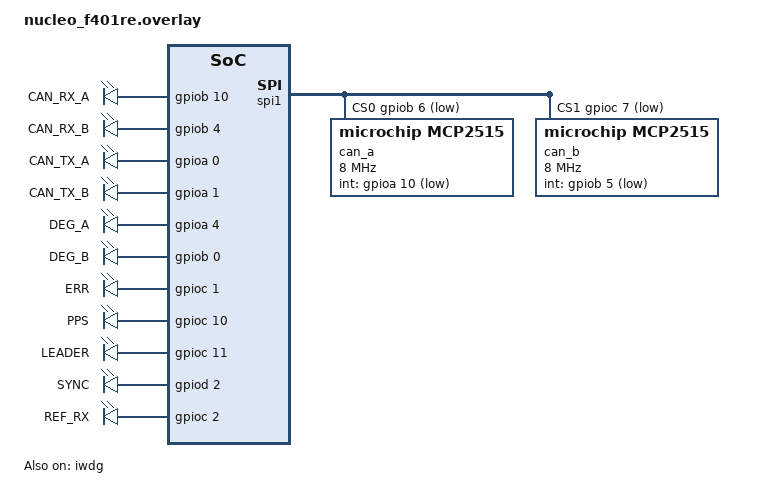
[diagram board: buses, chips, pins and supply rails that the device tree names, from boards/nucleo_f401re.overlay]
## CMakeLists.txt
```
cmake_minimum_required(VERSION 3.20.0)

# One app, two zones. Pick the zone at build time:
#   west build -p always -b nucleo_f401re car_can_app -- -DNODE_ID=2   (N2 front / steering)
#   west build -p always -b nucleo_f401re car_can_app -- -DNODE_ID=3   (N3 rear / drivetrain)
set(NODE_ID 2 CACHE STRING "Zone node number (2 = steering, 3 = drivetrain)")

if(NOT NODE_ID STREQUAL "2" AND NOT NODE_ID STREQUAL "3")
  message(FATAL_ERROR "NODE_ID must be 2 or 3 (got ${NODE_ID})")
endif()

# boards/nucleo_f401re.overlay (shared pins) is picked up automatically;
# the zone-specific pins come from node2.overlay or node3.overlay.
# This must be set before find_package(Zephyr).
set(EXTRA_DTC_OVERLAY_FILE ${CMAKE_CURRENT_SOURCE_DIR}/node${NODE_ID}.overlay)

# Part 3 measurement build: -DWCET=1 adds per-task execution-time
# measurement (src/wcet.c) and the thread runtime statistics it needs.
set(WCET 0 CACHE STRING "1 = build with execution-time measurement")
if(WCET)
  list(APPEND EXTRA_CONF_FILE ${CMAKE_CURRENT_SOURCE_DIR}/wcet.conf)
endif()

# Lab 5 Raft config: raft_config.json is the one config shared with the Pi.
# Overrides for the checkoff, e.g.  -DLEADER=random -DSEED=3
set(LEADER "" CACHE STRING "Override default_leader: cockpit | steering | drivetrain | random")
set(SEED "" CACHE STRING "Override election_seed")

find_package(Zephyr REQUIRED HINTS $ENV{ZEPHYR_BASE})
project(car_can_app)

set(RAFT_GEN_DIR ${CMAKE_CURRENT_BINARY_DIR}/raft_gen)
file(MAKE_DIRECTORY ${RAFT_GEN_DIR})
execute_process(
  COMMAND ${PYTHON_EXECUTABLE} ${CMAKE_CURRENT_SOURCE_DIR}/scripts/gen_raft_config.py
          ${CMAKE_CURRENT_SOURCE_DIR}/raft_config.json ${RAFT_GEN_DIR}/raft_config.h
          "${LEADER}" "${SEED}"
  RESULT_VARIABLE RAFT_GEN_RC)
if(NOT RAFT_GEN_RC EQUAL 0)
  message(FATAL_ERROR "raft_config.json: generation failed")
endif()
set_property(DIRECTORY APPEND PROPERTY CMAKE_CONFIGURE_DEPENDS ${CMAKE_CURRENT_SOURCE_DIR}/raft_config.json)
target_include_directories(app PRIVATE ${RAFT_GEN_DIR} src)

target_compile_definitions(app PRIVATE NODE_ID=${NODE_ID} WCET=${WCET})
if(WCET)
  target_sources(app PRIVATE src/wcet.c)
endif()

target_sources(app PRIVATE
  src/main.c
  src/canbus.c
  src/state.c
  src/monitor.c
  src/button.c
  src/blink.c
  src/relay.c
  src/node${NODE_ID}.c
  src/raft_node.c
  src/pps.c
  src/raft/raft_core.c
  src/raft/raft_proto.c
  src/raft/route.c
  src/raft/tsync.c
)
```

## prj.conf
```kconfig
# Drivers
CONFIG_GPIO=y
CONFIG_SPI=y
CONFIG_CAN=y
CONFIG_CAN_MCP2515=y
CONFIG_PWM=y
CONFIG_WATCHDOG=y

# MCP2515 interrupt thread. It is a cooperative thread (K_PRIO_COOP(2)),
# so it runs above every preemptible thread in this app; our RX callback
# runs inside it. 1024 is the driver default, stated here so it is visible.
CONFIG_CAN_MCP2515_INT_THREAD_PRIO=2
CONFIG_CAN_MCP2515_INT_THREAD_STACK_SIZE=1024

# Console (USART2 on the ST-LINK USB) for the 1 s status report
CONFIG_PRINTK=y
CONFIG_SERIAL=y

# PID (N3) uses float; save FP context when float threads preempt each other
CONFIG_FPU=y
CONFIG_FPU_SHARING=y

# Stack checking while developing; costs a little time per context switch
CONFIG_HW_STACK_PROTECTION=y

# Lab 5: 64-bit microsecond clock for time sync (SysTick at 84 MHz)
CONFIG_CORTEX_M_SYSTICK_64BIT_CYCLE_COUNTER=y
```

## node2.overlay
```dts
/*
 * N2 front / steering zone
 *   SRV      PB8  (D15)  TIM10_CH1 servo PWM, 50 Hz (also the SRV test point)
 *   FL       PC9  (morpho)  front-left blinker LED + test point
 *   FR       PA9  (D8)      front-right blinker LED + test point
 *   RELAY_TX PC0  (A5)      toggles when RELAY queues a forwarded frame
 */

/ {
    zone_outputs {
        compatible = "gpio-leds";

        blink_left:  blink_left  { gpios = <&gpioc 9 GPIO_ACTIVE_HIGH>; label = "FL"; };
        blink_right: blink_right { gpios = <&gpioa 9 GPIO_ACTIVE_HIGH>; label = "FR"; };
        tp_relay_tx: tp_relay_tx { gpios = <&gpioc 0 GPIO_ACTIVE_HIGH>; label = "RELAY_TX"; };
    };
};

&timers10 {
    status = "okay";
    st,prescaler = <83>;          /* 84 MHz / 84 = 1 MHz tick, 20 ms = 20000 counts */
    servo_pwm: pwm {
        status = "okay";
        pinctrl-0 = <&tim10_ch1_pb8>;
        pinctrl-names = "default";
    };
};
```

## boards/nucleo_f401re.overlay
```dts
/*
 * car_can_app - pins shared by N2 and N3 (Team 2 wiring)
 *
 *   CAN modules (XIAO MCP2515 + SN65HVD230), both on SPI1
 *     SCK PA5 (D13)  MOSI PA7 (D11)  MISO PA6 (D12)   shared
 *     CAN A: CS PB6 (D10)  INT PA10 (D2)
 *     CAN B: CS PC7 (D9)   INT PB5  (D4)
 *     Crystal 16.000 MHz (read off the module), 500 kbit/s
 *
 *   Test points / LEDs
 *     CAN_RX_A PB10 (D6)   CAN_RX_B PB4 (D5)
 *     CAN_TX_A PA0  (A0)   CAN_TX_B PA1 (A1)
 *     DEG_A    PA4  (A2)   DEG_B    PB0 (A3)
 *     ERR      PC1  (A4)
 *   Test button: B1, PC13 (board user button, sw0)
 *
 *   Lab 5 (morpho CN7, free on both zones)
 *     PPS      PC10 (CN7-1)    one rising edge per second of global time
 *     LEADER   PC11 (CN7-2)    this node is the Raft leader
 *     SYNC     PD2  (CN7-4)    time reference current (leader, or REF < 100 ms old)
 *     REF_RX   PC2  (CN7-35)   toggles on every REF from the leader
 *
 * Zone-specific pins are in node2.overlay / node3.overlay.
 */

/ {
    /* Plain GPIO outputs. gpio-leds is used only as a "named GPIO"
     * binding; no LED driver is enabled. */
    testpoints {
        compatible = "gpio-leds";

        tp_can_rx_a: tp_can_rx_a { gpios = <&gpiob 10 GPIO_ACTIVE_HIGH>; label = "CAN_RX_A"; };
        tp_can_rx_b: tp_can_rx_b { gpios = <&gpiob 4  GPIO_ACTIVE_HIGH>; label = "CAN_RX_B"; };
        tp_can_tx_a: tp_can_tx_a { gpios = <&gpioa 0  GPIO_ACTIVE_HIGH>; label = "CAN_TX_A"; };
        tp_can_tx_b: tp_can_tx_b { gpios = <&gpioa 1  GPIO_ACTIVE_HIGH>; label = "CAN_TX_B"; };
        led_deg_a:   led_deg_a   { gpios = <&gpioa 4  GPIO_ACTIVE_HIGH>; label = "DEG_A"; };
        led_deg_b:   led_deg_b   { gpios = <&gpiob 0  GPIO_ACTIVE_HIGH>; label = "DEG_B"; };
        tp_err:      tp_err      { gpios = <&gpioc 1  GPIO_ACTIVE_HIGH>; label = "ERR"; };
        tp_pps:      tp_pps      { gpios = <&gpioc 10 GPIO_ACTIVE_HIGH>; label = "PPS"; };
        led_leader:  led_leader  { gpios = <&gpioc 11 GPIO_ACTIVE_HIGH>; label = "LEADER"; };
        led_sync:    led_sync    { gpios = <&gpiod 2  GPIO_ACTIVE_HIGH>; label = "SYNC"; };
        tp_ref_rx:   tp_ref_rx   { gpios = <&gpioc 2  GPIO_ACTIVE_HIGH>; label = "REF_RX"; };
    };

    /* Board LED PWM uses TIM2 on PA5, which is SPI1 SCK here */
    pwmleds {
        status = "disabled";
    };
};

/* Board defaults that claim pins used here */
&usart1 { status = "disabled"; };   /* PB6 = CAN A chip select */
&i2c1   { status = "disabled"; };   /* PB8 = servo PWM on N2 */
&pwm2   { status = "disabled"; };   /* TIM2 on PA5 */

/* Independent watchdog (R4.5) */
&iwdg {
    status = "okay";
};

&spi1 {
    status = "okay";
    cs-gpios = <&gpiob 6 (GPIO_ACTIVE_LOW | GPIO_PULL_UP)>,   /* reg 0: CAN A */
               <&gpioc 7 (GPIO_ACTIVE_LOW | GPIO_PULL_UP)>;   /* reg 1: CAN B */

    can_a: mcp2515@0 {
        compatible = "microchip,mcp2515";
        reg = <0>;
        spi-max-frequency = <8000000>;      /* MCP2515 max 10 MHz; margin for jumpers */
        int-gpios = <&gpioa 10 GPIO_ACTIVE_LOW>;
        osc-freq = <16000000>;              /* 16.000 MHz crystal, confirmed */
        bitrate = <500000>;
        status = "okay";
    };

    can_b: mcp2515@1 {
        compatible = "microchip,mcp2515";
        reg = <1>;
        spi-max-frequency = <8000000>;
        int-gpios = <&gpiob 5 GPIO_ACTIVE_LOW>;
        osc-freq = <16000000>;
        bitrate = <500000>;
        status = "okay";
    };
};
```

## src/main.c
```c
/*
 * car_can_app - Lab 3/4/5 zone firmware for N2 (steering) and N3 (drivetrain)
 * Lab 5: Raft (raft_node.c, src/raft/), time sync, PPS (pps.c)
 *
 * Build one image per zone:
 *   west build -p always -b nucleo_f401re car_can_app -- -DNODE_ID=2
 *   west build -p always -b nucleo_f401re car_can_app -- -DNODE_ID=3
 *
 * Init order: outputs to their safe values first (power-up is the error
 * state), then CAN, then the periodic tasks.
 */

#include <zephyr/kernel.h>

#include "canbus.h"
#include "config.h"
#include "node.h"
#include "state.h"
#include "wcet.h"
#include "raft_node.h"
#include <stm32_ll_rcc.h>

int main(void)
{
    printk("car_can_app N%d (%s), Lab 5\n", NODE_ID, NODE_ID == 2 ? "front / steering" : "rear / drivetrain");
    /* Why did we start? (RCC_CSR; the flags survive a reset until cleared) */
    printk("reset cause:%s%s%s%s%s%s\n",
           LL_RCC_IsActiveFlag_IWDGRST() ? " WATCHDOG" : "", LL_RCC_IsActiveFlag_SFTRST() ? " software" : "",
           LL_RCC_IsActiveFlag_PORRST() ? " power-on" : "", LL_RCC_IsActiveFlag_BORRST() ? " brown-out" : "",
           LL_RCC_IsActiveFlag_PINRST() ? " reset-pin" : "", LL_RCC_IsActiveFlag_WWDGRST() ? " window-wdg" : "");
    LL_RCC_ClearResetFlags();

    state_init();
    if (raft_node_init() != 0) {                /* before CAN: its queue takes the first frames */
        printk("raft init failed - check the LEADER / SYNC / REF_RX pins\n");
        return 0;
    }
    if (node_init() != 0 || blink_init() != 0 || relay_init() != 0 || pps_init() != 0) {
        printk("output init failed\n");
        return 0;
    }
    if (canbus_init() != 0) {
        printk("CAN init failed - check wiring, then reset\n");
        return 0;
    }
    wcet_init();                                /* no-op unless built with -DWCET=1 */
    if (button_init() != 0 || monitor_init() != 0) {
        printk("monitor / button init failed\n");
        return 0;
    }
    printk("running\n");
    return 0;
}
```

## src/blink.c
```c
/*
 * blink.c - BLINK_F (N2) / BLINK_R (N3), Lab 5: lamp edges on global time
 *
 * What to show:
 *   - in the error state: hazards
 *   - otherwise: the cockpit's BLINK state (left / right / hazard / off),
 *     as long as BLINK frames keep coming (BLINK_STALE_MS)
 * When to switch: every node derives the edges from global_gettime(), so
 * the front and rear lamps switch at the same global instant whatever the
 * receive path of the BLINK frame was. Lamps are on in the first half of
 * each period: on while (global / half) is even.
 *   - normal blinking and hazards: BLINK_HALF_US_NORMAL (2 Hz)
 *   - failure mode (cockpit lost: no HB_N1 on either bus for 66 ms):
 *     BLINK_HALF_US_FAILURE (4 Hz)
 * The phase byte in BLINK is no longer used.
 *
 * Precision: the thread sleeps until EDGE_WAKE_EARLY_US before the edge,
 * then spins to the exact microsecond. It is cooperative (PRIO_EDGE), so
 * nothing preempts it in that short window. Every wakeup recomputes the
 * edge from the current clock model, sleeps are capped at one half-period,
 * and the spin is capped at 2 x EDGE_WAKE_EARLY_US: a clock step (first
 * sync can move global time by hours) can never leave it spinning.
 */

#include <zephyr/kernel.h>
#include <zephyr/drivers/gpio.h>
#include <zephyr/spinlock.h>

#include "catalog.h"
#include "config.h"
#include "node.h"
#include "state.h"
#include "raft_node.h"
#include "wcet.h"

#define BLINK_STALE_MS   1200       /* > two toggles without BLINK = cockpit gone */

static const struct gpio_dt_spec lamp_l = GPIO_DT_SPEC_GET(DT_NODELABEL(blink_left), gpios);
static const struct gpio_dt_spec lamp_r = GPIO_DT_SPEC_GET(DT_NODELABEL(blink_right), gpios);

static struct k_spinlock lock;
static uint8_t rx_state = BLINK_OFF;
static uint32_t rx_ms;
static bool rx_any;

K_SEM_DEFINE(blink_sem, 0, 1);

void blink_on_frame(uint8_t state, uint8_t phase)
{
    ARG_UNUSED(phase);
    k_spinlock_key_t key = k_spin_lock(&lock);
    rx_state = state;
    rx_ms = k_uptime_get_32();
    rx_any = true;
    k_spin_unlock(&lock, key);
    k_sem_give(&blink_sem);
}

/* Lab 4 hazard alignment through HB_N2 is replaced by global time */
void blink_sync_info(uint8_t out[3])
{
    out[0] = out[1] = out[2] = 0;
}

void blink_follow(const uint8_t in[3])
{
    ARG_UNUSED(in);
}

void blink_kick(void)
{
    k_sem_give(&blink_sem);
}

static void lamps(uint8_t state, bool on)
{
    bool l = on && (state == BLINK_LEFT || state == BLINK_HAZARD);
    bool r = on && (state == BLINK_RIGHT || state == BLINK_HAZARD);
    gpio_pin_set_dt(&lamp_l, l);
    gpio_pin_set_dt(&lamp_r, r);
}

/* Failure mode is local and fast: HB_N1 missing on both buses for 66 ms.
 * The committed COCKPIT entry only records it (and also flips when the
 * cockpit is alive but in error, e.g. proxy stopped), so it is not used here. */
static bool cockpit_lost(uint32_t now_ms)
{
    struct peer_info p;
    state_get_peer(ZONE_N1, &p);
    return !(p.last_hb_ms != 0 && (int32_t)(now_ms - p.last_hb_ms) < (int32_t)ZONE_TIMEOUT_MS);
}

static void what_to_show(uint8_t *state, uint32_t *half_us)
{
    uint32_t now = k_uptime_get_32();
    k_spinlock_key_t key = k_spin_lock(&lock);
    uint8_t st = rx_state;
    bool fresh = rx_any && (now - rx_ms) < BLINK_STALE_MS;
    k_spin_unlock(&lock, key);

    bool lost = cockpit_lost(now);
    *half_us = lost ? BLINK_HALF_US_FAILURE : BLINK_HALF_US_NORMAL;
    if (state_in_error()) {
        *state = BLINK_HAZARD;
    } else if (fresh) {
        *state = st;
    } else {
        *state = BLINK_OFF;
    }
}

static bool phase_on(uint64_t global_us, uint32_t half_us)
{
    return ((global_us / half_us) & 1u) == 0;
}

K_THREAD_STACK_DEFINE(blink_stack, STACK_SMALL);
static struct k_thread blink_thread;

static void blink_fn(void *a, void *b, void *c)
{
    ARG_UNUSED(a); ARG_UNUSED(b); ARG_UNUSED(c);

    while (1) {
        uint8_t st;
        uint32_t half;
        what_to_show(&st, &half);

        /* Every pass recomputes the next edge from the clock model as it is
         * NOW. A REF can step the clock while we sleep (first sync: by
         * hours); an edge computed before the step is never reused. */
        uint64_t now = raft_node_local_us();
        uint64_t g = raft_node_global_us(now);
        lamps(st, phase_on(g, half));           /* current phase (a state change applies at once) */
        uint64_t edge_g = (g / half + 1u) * half;
        uint64_t edge_l = raft_node_local_for_global(edge_g);

        if (edge_l <= now || edge_l - now > EDGE_WAKE_EARLY_US) {
            /* Not close yet (or the model moved): sleep, capped, then recompute */
            uint64_t wait = (edge_l > now + EDGE_WAKE_EARLY_US) ? edge_l - now - EDGE_WAKE_EARLY_US : 100u;
            if (wait > half) {
                wait = half;
            }
            k_sem_take(&blink_sem, K_USEC((uint32_t)wait));   /* BLINK or error change wakes us early */
            continue;
        }

        /* Within EDGE_WAKE_EARLY_US of a freshly computed edge. This thread
         * is cooperative, so the model cannot change during the spin; the
         * spin is capped anyway. */
        uint64_t spin_end = now + 2u * EDGE_WAKE_EARLY_US;
        uint64_t t;
        while ((t = raft_node_local_us()) < edge_l && t < spin_end) {
        }
        WCET_BEGIN(blink);
        what_to_show(&st, &half);
        lamps(st, phase_on(edge_g, half));
        WCET_END(W_BLINK, blink);
    }
}

int blink_init(void)
{
    if (!gpio_is_ready_dt(&lamp_l) || !gpio_is_ready_dt(&lamp_r)) {
        return -ENODEV;
    }
    gpio_pin_configure_dt(&lamp_l, GPIO_OUTPUT_INACTIVE);
    gpio_pin_configure_dt(&lamp_r, GPIO_OUTPUT_INACTIVE);

    k_thread_create(&blink_thread, blink_stack, K_THREAD_STACK_SIZEOF(blink_stack),
                    blink_fn, NULL, NULL, NULL, PRIO_EDGE, 0, K_NO_WAIT);
    k_thread_name_set(&blink_thread, "blink");
    return 0;
}
```

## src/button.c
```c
/*
 * button.c - TEST_BTN (R2.5): B1 / PC13
 *
 * ISR: on the press edge, accept it only if 50 ms have passed since the
 *      last accepted edge (leading-edge debounce, so there is no delay),
 *      then give a semaphore. No printing, no SPI.
 * Thread (prio 5):
 *      not in test error  -> enter it: ERR_TEST (fail-safe outputs are
 *                            applied inside state_set), then FAULT on both
 *                            buses. Local fail well inside 10 ms.
 *      already in test error and this press is within DOUBLE_PRESS_MS
 *      (500 ms) of the previous one -> double press: leave test error.
 *      While in test error HB_TX sends nothing (monitor.c), so the other
 *      zones see the FAULT at once and the missing heartbeats after that.
 */

#include <zephyr/kernel.h>
#include <zephyr/drivers/gpio.h>

#include "catalog.h"
#include "config.h"
#include "node.h"
#include "state.h"
#include "wcet.h"

static const struct gpio_dt_spec btn = GPIO_DT_SPEC_GET(DT_ALIAS(sw0), gpios);
static struct gpio_callback btn_cb;

K_SEM_DEFINE(btn_sem, 0, 4);
static uint32_t last_edge_ms;

static void btn_isr(const struct device *dev, struct gpio_callback *cb, uint32_t pins)
{
    ARG_UNUSED(dev); ARG_UNUSED(cb); ARG_UNUSED(pins);
    uint32_t now = k_uptime_get_32();

    if ((now - last_edge_ms) < BUTTON_DEBOUNCE_MS) {
        return;
    }
    last_edge_ms = now;
    k_sem_give(&btn_sem);
}

K_THREAD_STACK_DEFINE(btn_stack, STACK_SMALL);
static struct k_thread btn_thread;

static void btn_fn(void *a, void *b, void *c)
{
    ARG_UNUSED(a); ARG_UNUSED(b); ARG_UNUSED(c);
    uint32_t last_press_ms = 0;
    bool have_last = false;

    while (1) {
        k_sem_take(&btn_sem, K_FOREVER);
        uint32_t now = k_uptime_get_32();

        if ((state_reasons() & ERR_TEST) == 0) {
            WCET_BEGIN(btn);
            state_set(ERR_TEST);                        /* local fail */
            state_send_fault(NODE_ID, FAULT_TEST_BUTTON);
            WCET_END(W_TEST_BTN, btn);
            have_last = false;                          /* the failing press never starts a double press */
            continue;
        } else if (have_last && (now - last_press_ms) <= DOUBLE_PRESS_MS) {
            state_clear(ERR_TEST);                      /* double press: restore */
            have_last = false;
            continue;
        }
        last_press_ms = now;
        have_last = true;
    }
}

int button_init(void)
{
    if (!gpio_is_ready_dt(&btn)) {
        return -ENODEV;
    }
    gpio_pin_configure_dt(&btn, GPIO_INPUT);
    gpio_pin_interrupt_configure_dt(&btn, GPIO_INT_EDGE_TO_ACTIVE);
    gpio_init_callback(&btn_cb, btn_isr, BIT(btn.pin));
    gpio_add_callback(btn.port, &btn_cb);
    last_edge_ms = k_uptime_get_32() - BUTTON_DEBOUNCE_MS;

    k_thread_create(&btn_thread, btn_stack, K_THREAD_STACK_SIZEOF(btn_stack),
                    btn_fn, NULL, NULL, NULL, PRIO_BUTTON, 0, K_NO_WAIT);
    k_thread_name_set(&btn_thread, "test_btn");
    return 0;
}
```

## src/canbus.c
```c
/*
 * canbus.c - two MCP2515 controllers, one dispatch path
 *
 * Receive path (per frame, per bus):
 *   INT pin falls -> driver GPIO ISR gives a semaphore
 *   -> MCP2515 interrupt thread (cooperative, above all our threads)
 *      reads the frame over SPI and calls rx_cb()
 *   -> rx_cb: stamp the bus as alive, put the frame on rx_q. No printing,
 *      no blocking.
 *   -> DISPATCH thread: toggle CAN_RX_x ("when dispatch first gets the
 *      frame"), drop our own / duplicate / stale copies by
 *      (ID, sender, seq), hand first copies to RELAY and to
 *      app_on_frame(). Nothing above DISPATCH sees a duplicate.
 *
 * Transmit: canbus_send_both() bumps the per-ID sequence counter once and
 * queues the frame on A then B without blocking (K_NO_WAIT plus a
 * completion callback), so a dead bus can never stall a task.
 *
 * Lab 5:
 *   - rx_cb stamps every frame with the local microsecond clock first, so
 *     REF timing is taken as close to the frame as this driver allows.
 *   - Raft frames (catalog v0.8, IDs base + sender) skip the Lab 3 seq
 *     filter: they are de-duplicated on (ID, seq, bytes 1-7) with the flags
 *     nibble masked, so a relayed copy matches its original and a catch-up
 *     burst never collides when the 4-bit counter wraps.
 *   - Relaying is decided per frame by the shared route rule
 *     (raft_node_relay_bus), for Raft and Lab 3 frames alike. Raft frames
 *     get the RELAYED flag; Lab 3 frames are forwarded bit for bit (CTRL's
 *     CRC covers byte 0).
 *   - canbus_send_raft() sends REF with a TX-complete callback that stamps
 *     the moment the frame left the controller (tsync).
 */

#include <zephyr/kernel.h>
#include <zephyr/device.h>
#include <zephyr/drivers/can.h>
#include <zephyr/drivers/gpio.h>
#include <zephyr/sys/atomic.h>
#include <zephyr/spinlock.h>
#include <stm32_ll_exti.h>

#include <string.h>

#include "canbus.h"
#include "catalog.h"
#include "config.h"
#include "wcet.h"
#include "raft_node.h"
#include "raft/raft_proto.h"

static const struct device *const can_devs[NUM_BUSES] = {
    DEVICE_DT_GET(DT_NODELABEL(can_a)),
    DEVICE_DT_GET(DT_NODELABEL(can_b)),
};

/* MCP2515 interrupt lines (same pins the driver uses) */
static const struct gpio_dt_spec can_int[NUM_BUSES] = {
    GPIO_DT_SPEC_GET(DT_NODELABEL(can_a), int_gpios),
    GPIO_DT_SPEC_GET(DT_NODELABEL(can_b), int_gpios),
};

static const struct gpio_dt_spec tp_rx[NUM_BUSES] = {
    GPIO_DT_SPEC_GET(DT_NODELABEL(tp_can_rx_a), gpios),
    GPIO_DT_SPEC_GET(DT_NODELABEL(tp_can_rx_b), gpios),
};
static const struct gpio_dt_spec tp_tx[NUM_BUSES] = {
    GPIO_DT_SPEC_GET(DT_NODELABEL(tp_can_tx_a), gpios),
    GPIO_DT_SPEC_GET(DT_NODELABEL(tp_can_tx_b), gpios),
};

/* IDs this zone listens to (everything in the catalog it consumes),
 * then the Raft ranges (base + sender 1..3) */
struct rx_filter_def {
    uint16_t id;
    uint16_t mask;
};
static const struct rx_filter_def rx_filters[] = {
    { ID_CTRL, CAN_STD_ID_MASK },
    { ID_FAULT, CAN_STD_ID_MASK },
    { ID_HB_N1, CAN_STD_ID_MASK },
#if NODE_ID == 2
    { ID_HB_N3, CAN_STD_ID_MASK },
#else
    { ID_HB_N2, CAN_STD_ID_MASK },
#endif
    { ID_BLINK, CAN_STD_ID_MASK },
    { RAFT_ID_REF, 0x7F8 },
    { RAFT_ID_REQ_VOTE, 0x7F0 },
    { RAFT_ID_VOTE, 0x7F0 },
    { RAFT_ID_APPEND, 0x7F0 },
    { RAFT_ID_ACK, 0x7F0 },
    { RAFT_ID_REPORT, 0x7F0 },
    { RAFT_ID_REDIRECT, 0x7F0 },
};

/* ------------------------------------------------------------------ */
/* Statistics and bus health (atomics: written from several contexts)  */
/* ------------------------------------------------------------------ */

static atomic_t last_rx_ms[NUM_BUSES];
static atomic_t degraded[NUM_BUSES];
static atomic_t st_rx[NUM_BUSES], st_tx_ok[NUM_BUSES], st_tx_err[NUM_BUSES], st_tx_refused[NUM_BUSES];
static atomic_t st_dup, st_stale, st_overflow;

/* ------------------------------------------------------------------ */
/* Receive: driver callback -> queue                                  */
/* ------------------------------------------------------------------ */

struct rx_item {
    struct can_frame frame;
    uint64_t t_us;
    uint32_t t_ms;
    uint8_t bus;
};

K_MSGQ_DEFINE(rx_q, sizeof(struct rx_item), 32, 8);

/* Runs in the MCP2515 interrupt thread (cooperative), not in an ISR. */
static void rx_cb(const struct device *dev, struct can_frame *frame, void *user_data)
{
    ARG_UNUSED(dev);
    uint64_t t_us = raft_node_local_us();      /* first: REF timing */
    uint8_t bus = (uint8_t)(uintptr_t)user_data;
    struct rx_item it = {
        .frame = *frame,
        .t_us = t_us,
        .t_ms = k_uptime_get_32(),
        .bus = bus,
    };

    wcet_rx_delivered(bus);
    atomic_set(&last_rx_ms[bus], (atomic_val_t)it.t_ms);
    atomic_inc(&st_rx[bus]);

    if (k_msgq_put(&rx_q, &it, K_NO_WAIT) != 0) {
        atomic_inc(&st_overflow);
    }
}

/* ------------------------------------------------------------------ */
/* Duplicate / stale filter - DISPATCH thread only, so no lock needed  */
/* ------------------------------------------------------------------ */

struct seen {
    uint16_t id;
    uint8_t src;
    uint8_t seq;
    uint32_t t_ms;
    bool used;
};

static struct seen seen_tab[12];

enum verdict { ACCEPT, DUPLICATE, STALE };

static enum verdict check_seq(uint16_t id, uint8_t src, uint8_t seq, uint32_t now)
{
    struct seen *e = NULL;

    for (int i = 0; i < ARRAY_SIZE(seen_tab); i++) {
        if (seen_tab[i].used && seen_tab[i].id == id && seen_tab[i].src == src) {
            e = &seen_tab[i];
            break;
        }
    }
    if (e == NULL) {
        for (int i = 0; i < ARRAY_SIZE(seen_tab); i++) {
            if (!seen_tab[i].used) {
                e = &seen_tab[i];
                e->used = true;
                e->id = id;
                e->src = src;
                e->seq = seq;
                e->t_ms = now;
                return ACCEPT;
            }
        }
        return ACCEPT;                          /* table full: never drop */
    }

    uint8_t ahead = (uint8_t)((seq - e->seq) & 0x0F);
    uint32_t age = now - e->t_ms;

    if (ahead == 0 && age < DEDUP_WINDOW_MS) {
        return DUPLICATE;                       /* other bus's copy, or the relayed copy */
    }
    if (ahead >= 9 && age < STALE_WINDOW_MS) {
        return STALE;                           /* 1..7 behind: an old buffered frame */
    }
    e->seq = seq;
    e->t_ms = now;
    return ACCEPT;
}

/* Raft frames: duplicate = same ID, seq and bytes 1..7 within the window
 * (flags nibble masked, so a relayed copy matches its original) */
struct raft_seen {
    uint16_t id;
    uint8_t key[8];
    uint32_t t_ms;
};
static struct raft_seen raft_seen_tab[24];
static uint8_t raft_seen_head;

static bool raft_duplicate(const struct can_frame *f, uint32_t now)
{
    uint8_t key[8];
    memcpy(key, f->data, 8);
    key[0] &= 0x0F;
    for (int i = 0; i < ARRAY_SIZE(raft_seen_tab); i++) {
        struct raft_seen *e = &raft_seen_tab[i];
        if (e->t_ms != 0 && e->id == f->id && (now - e->t_ms) < DEDUP_WINDOW_MS &&
            memcmp(e->key, key, 8) == 0) {
            return true;
        }
    }
    struct raft_seen *e = &raft_seen_tab[raft_seen_head];
    raft_seen_head = (uint8_t)((raft_seen_head + 1) % ARRAY_SIZE(raft_seen_tab));
    e->id = (uint16_t)f->id;
    memcpy(e->key, key, 8);
    e->t_ms = now ? now : 1;
    return false;
}

/* ------------------------------------------------------------------ */
/* DISPATCH thread                                                    */
/* ------------------------------------------------------------------ */

K_THREAD_STACK_DEFINE(dispatch_stack, STACK_MEDIUM);
static struct k_thread dispatch_thread;

static void dispatch_fn(void *a, void *b, void *c)
{
    ARG_UNUSED(a); ARG_UNUSED(b); ARG_UNUSED(c);
    struct rx_item it;

    while (1) {
        k_msgq_get(&rx_q, &it, K_FOREVER);
        gpio_pin_toggle_dt(&tp_rx[it.bus]);     /* CAN_RX_x: dispatch first gets the frame */
        WCET_BEGIN(disp);

        const struct can_frame *f = &it.frame;
        if (f->dlc != CAT_DLC || (f->flags & CAN_FRAME_RTR)) {
            continue;                           /* not a catalog frame */
        }

        if (raft_id_base(f->id) != 0) {         /* Lab 5 Raft frame */
            uint8_t sender = raft_id_sender(f->id);
            if (sender == NODE_ID) {
                continue;
            }
            if (raft_duplicate(f, it.t_ms)) {
                atomic_inc(&st_dup);
                if (raft_id_base(f->id) == RAFT_ID_REF) {
                    /* Raft ignores it, but time sync needs every copy:
                     * only the copy on the stamped bus can be paired */
                    raft_node_post_frame((uint8_t)(it.bus + 1), f, it.t_us, false);
                }
                continue;
            }
            bool relayed = (f->data[0] & RAFT_FLAG_RELAYED) != 0;
            uint8_t out = raft_node_relay_bus(sender, (uint8_t)(it.bus + 1), relayed);
            if (out != 0) {
                struct can_frame g = *f;
                g.data[0] |= RAFT_FLAG_RELAYED;
                relay_post_to(&g, out - 1);
            }
            raft_node_post_frame((uint8_t)(it.bus + 1), f, it.t_us, true);
            WCET_END(W_DISPATCH, disp);
            continue;
        }

        uint8_t src = cat_source(f->id, f->data);
        if (src == 0 || src == NODE_ID) {
            continue;
        }

        switch (check_seq(f->id, src, f->data[0] & 0x0F, it.t_ms)) {
        case DUPLICATE:
            atomic_inc(&st_dup);
            continue;
        case STALE:
            atomic_inc(&st_stale);
            continue;
        case ACCEPT:
            break;
        }

        uint8_t out = raft_node_relay_bus(src, (uint8_t)(it.bus + 1), false);
        if (out != 0) {
            relay_post_to(f, out - 1);          /* bit for bit: CTRL's CRC covers byte 0 */
        }
        app_on_frame(f, it.bus, src);
        WCET_END(W_DISPATCH, disp);
    }
}

/* ------------------------------------------------------------------ */
/* Transmit                                                           */
/* ------------------------------------------------------------------ */

#define TX_BUFFER_WAIT  K_USEC(600)

/* One counter per ID this zone sends (HB, FAULT, FORCE). */
static atomic_t seq_hb, seq_fault, seq_force, seq_other;

static atomic_t *seq_for(uint16_t id)
{
    switch (id) {
    case ID_HB_N2:
    case ID_HB_N3: return &seq_hb;
    case ID_FAULT: return &seq_fault;
    case ID_FORCE: return &seq_force;
    default:       return &seq_other;
    }
}

/* Runs in the driver's interrupt thread when a frame finishes. */
static void tx_cb(const struct device *dev, int error, void *user_data)
{
    ARG_UNUSED(dev);
    int bus = (int)(uintptr_t)user_data;
    wcet_tx_delivered(bus);
    if (error == 0) {
        atomic_inc(&st_tx_ok[bus]);
    } else {
        atomic_inc(&st_tx_err[bus]);
    }
}

/* REF finished on the wire: stamp it for time sync */
static void tx_cb_ref(const struct device *dev, int error, void *user_data)
{
    uint64_t t_us = raft_node_local_us();       /* first */
    int bus = (int)(uintptr_t)user_data;
    tx_cb(dev, error, user_data);
    if (error == 0) {
        raft_node_post_ref_txdone((uint8_t)(bus + 1), t_us);
    }
}

static int queue_on_cb(int bus, const struct can_frame *f, can_tx_callback_t cb)
{
    gpio_pin_toggle_dt(&tp_tx[bus]);            /* CAN_TX_x: the call that queues the frame */
    WCET_BEGIN(spi);
    /* Wait up to TX_BUFFER_WAIT for one of the 3 MCP2515 TX buffers to free
     * up (one frame on the wire is 270 us), instead of dropping the frame
     * when two or three others are still queued. The completion is still a
     * callback, so this never waits for the frame itself to be sent. */
    int err = can_send(can_devs[bus], f, TX_BUFFER_WAIT, cb, (void *)(uintptr_t)bus);
    WCET_END(W_SPI_TX, spi);
    if (err != 0) {
        atomic_inc(&st_tx_refused[bus]);        /* buffers full (no ACK) or controller stopped */
    }
    return err;
}

static int queue_on(int bus, const struct can_frame *f)
{
    return queue_on_cb(bus, f, tx_cb);
}

void canbus_send_both(uint16_t id, uint8_t data[8], bool is_heartbeat)
{
    uint8_t seq = (uint8_t)atomic_inc(seq_for(id));    /* bumped once for both copies */

    struct can_frame f = {
        .id = id,
        .dlc = CAT_DLC,
        .flags = 0,
    };
    data[0] = (uint8_t)((data[0] & 0xF0) | (seq & 0x0F));
    memcpy(f.data, data, CAT_DLC);

    for (int bus = 0; bus < NUM_BUSES; bus++) {
        if (atomic_get(&degraded[bus]) && !is_heartbeat) {
            continue;
        }
        queue_on(bus, &f);
    }
}

/* One counter per Raft frame type (all sent by this node only) */
static atomic_t seq_raft[8];

int canbus_send_raft(const raft_frame_t *rf, bool is_ref)
{
    uint16_t base = raft_id_base(rf->id);
    int k = (base == RAFT_ID_REF) ? 0 : (int)((base >> 4) & 0x07);
    uint8_t seq = (uint8_t)atomic_inc(&seq_raft[k]);
    struct can_frame f = {
        .id = rf->id,
        .dlc = CAT_DLC,
        .flags = 0,
    };
    memcpy(f.data, rf->data, CAT_DLC);
    f.data[0] = (uint8_t)((f.data[0] & 0xF0) | (seq & 0x0F));

    int sent = 0;
    for (int bus = 0; bus < NUM_BUSES; bus++) {
        if (!(rf->bus_mask & (1u << bus)) || atomic_get(&degraded[bus])) {
            continue;
        }
        if (queue_on_cb(bus, &f, is_ref ? tx_cb_ref : tx_cb) == 0) {
            sent++;
        }
    }
    return sent > 0 ? 0 : -ENETDOWN;
}

int canbus_send_one(int bus, const struct can_frame *frame)
{
    if (atomic_get(&degraded[bus])) {
        return -ENETDOWN;
    }
    return queue_on(bus, frame);
}

/* ------------------------------------------------------------------ */
/* Health                                                             */
/* ------------------------------------------------------------------ */

uint32_t canbus_last_rx_ms(int bus)
{
    return (uint32_t)atomic_get(&last_rx_ms[bus]);
}

bool canbus_is_degraded(int bus)
{
    return atomic_get(&degraded[bus]) != 0;
}

/* Controller recovery. can_start() asks the MCP2515 back into normal mode
 * and gives up after about 1 ms (driver: MCP2515_MODE_CHANGE_TIMEOUT_USEC).
 * If it gives up, the controller stays stopped in configuration mode: it
 * cannot receive, every send returns -ENETDOWN, and DEG (which clears only
 * when a frame arrives) never clears. So the result is checked, and
 * canbus_recover() keeps trying while the bus is degraded. */
static atomic_t st_restarts[NUM_BUSES], st_restart_fail[NUM_BUSES];
static int last_start_err[NUM_BUSES];

static void note_start(int bus, int err, const char *what)
{
    if (err == -EALREADY) {
        err = 0;                                /* already running */
    }
    if (err == 0) {
        atomic_inc(&st_restarts[bus]);
    } else {
        atomic_inc(&st_restart_fail[bus]);
    }
    if (err != last_start_err[bus]) {           /* print changes only */
        printk("CAN %c: %s -> %d%s\n", 'A' + bus, what, err,
               err ? " (controller stopped; retrying every HB_MON tick)" : "");
        last_start_err[bus] = err;
    }
}

void canbus_set_degraded(int bus, bool deg)
{
    bool was = atomic_set(&degraded[bus], deg ? 1 : 0) != 0;

    if (deg && !was) {
        /* Throw away frames stuck in the TX buffers waiting for an ACK,
         * so stale CTRL/HB copies are not sent when the wire comes back.
         * Filters survive stop/start. */
        (void)can_stop(can_devs[bus]);
        note_start(bus, can_start(can_devs[bus]), "restart on DEG");
    }
}

/* Called by HB_MON every tick while the bus is degraded.
 * STOPPED (a failed can_start): start it again, backing off from 100 ms to 1 s.
 * BUS_OFF is left alone: that is CAN fault confinement, and the MCP2515
 * rejoins by itself after 128 x 11 recessive bits. Restarting it put a
 * node with a bad connection straight back on the bus, where its error
 * frames disturbed everyone else's traffic. */
static uint32_t next_start_ms[NUM_BUSES];
static uint32_t start_backoff_ms[NUM_BUSES];

void canbus_recover(int bus)
{
    enum can_state st;
    uint32_t now = k_uptime_get_32();

    if (can_get_state(can_devs[bus], &st, NULL) != 0 || st != CAN_STATE_STOPPED) {
        start_backoff_ms[bus] = 0;
        return;
    }
    if ((int32_t)(now - next_start_ms[bus]) < 0) {
        return;
    }
    int err = can_start(can_devs[bus]);
    note_start(bus, err, "start (was stopped)");
    start_backoff_ms[bus] = err ? MIN(start_backoff_ms[bus] ? start_backoff_ms[bus] * 2 : 100u, 1000u) : 0;
    next_start_ms[bus] = now + start_backoff_ms[bus];
}

/* TX stuck watch, every HB_MON tick on a bus that is NOT degraded (it is
 * receiving fine). If no transmission has completed for TX_STUCK_MS while
 * sends keep being refused, the driver believes all three TX slots are
 * still busy (completions lost, e.g. during an interrupt stall) and will
 * refuse every frame forever. Seen on the bench: tx ok frozen at 210,
 * refused +50/s, DEG off, tec 0. can_stop() completes every slot with
 * -ENETDOWN, which frees them; can_start() resumes. At most once per s. */
#define TX_STUCK_MS 200
static uint32_t txok_seen[NUM_BUSES], refused_seen[NUM_BUSES], txok_change_ms[NUM_BUSES], tx_fix_ms[NUM_BUSES];
static atomic_t st_tx_stuck[NUM_BUSES];

void canbus_check_tx(int bus)
{
    uint32_t now = k_uptime_get_32();
    uint32_t ok = (uint32_t)atomic_get(&st_tx_ok[bus]);
    uint32_t refused = (uint32_t)atomic_get(&st_tx_refused[bus]);

    if (ok != txok_seen[bus] || atomic_get(&degraded[bus])) {
        txok_seen[bus] = ok;
        refused_seen[bus] = refused;
        txok_change_ms[bus] = now;
        return;
    }
    if (refused - refused_seen[bus] < 3 || (now - txok_change_ms[bus]) < TX_STUCK_MS ||
        (now - tx_fix_ms[bus]) < 1000) {
        return;
    }
    /* Only when the controller says all is well. An error-passive or bus-off
     * controller is failing its sends for a real reason, and a restart would
     * reset its error counters, the same mistake as restarting a bus-off one. */
    enum can_state st;
    if (can_get_state(can_devs[bus], &st, NULL) != 0 || st != CAN_STATE_ERROR_ACTIVE) {
        return;
    }
    tx_fix_ms[bus] = now;
    txok_change_ms[bus] = now;
    refused_seen[bus] = refused;
    atomic_val_t n = atomic_inc(&st_tx_stuck[bus]) + 1;
    (void)can_stop(can_devs[bus]);
    int err = can_start(can_devs[bus]);
    note_start(bus, err, "restart (TX stuck)");
    if (n <= 5 || (n % 20) == 0) {
        printk("CAN %c: TX stuck (no completion for %u ms, sends refused), controller restarted (%d so far)\n",
               'A' + bus, TX_STUCK_MS, (int)n);
    }
}

/* Interrupt stall watch, every HB_MON tick, both buses.
 * The MCP2515 holds INT asserted until the driver reads and clears its
 * flags, which takes microseconds. The driver only runs on an INT edge; if
 * an edge is lost, INT stays asserted, nothing is received or completed
 * again, yet the controller reports error-active with zero error counters
 * (seen on the bench: rx and tx-ok frozen, every send refused). Asserted on
 * two ticks in a row = stalled: raise that pin's EXTI line in software,
 * which runs the driver's interrupt handler exactly as a real edge would. */
static uint8_t int_asserted_ticks[NUM_BUSES];
static atomic_t st_int_kicks[NUM_BUSES];

void canbus_check_int(int bus)
{
    if (gpio_pin_get_dt(&can_int[bus]) <= 0) {
        int_asserted_ticks[bus] = 0;
        return;
    }
    if (++int_asserted_ticks[bus] < 2) {
        return;
    }
    int_asserted_ticks[bus] = 0;
    LL_EXTI_GenerateSWI_0_31(BIT(can_int[bus].pin));
    atomic_val_t n = atomic_inc(&st_int_kicks[bus]) + 1;
    if (n <= 5 || (n % 50) == 0) {
        printk("CAN %c: INT stuck asserted, interrupt kicked (%d so far)\n", 'A' + bus, (int)n);
    }
}

int canbus_int_pin(int bus)
{
    return gpio_pin_get_dt(&can_int[bus]);
}

void canbus_get_ctrl_diag(int bus, struct canbus_ctrl_diag *d)
{
    struct can_bus_err_cnt ec = { 0 };
    enum can_state st = CAN_STATE_STOPPED;

    d->state_ok = can_get_state(can_devs[bus], &st, &ec) == 0;
    d->state = (uint8_t)st;
    d->tec = ec.tx_err_cnt;
    d->rec = ec.rx_err_cnt;
    d->restarts = (uint32_t)atomic_get(&st_restarts[bus]);
    d->restart_fail = (uint32_t)atomic_get(&st_restart_fail[bus]);
    d->int_asserted = gpio_pin_get_dt(&can_int[bus]) > 0;
    d->int_kicks = (uint32_t)atomic_get(&st_int_kicks[bus]);
    d->tx_stuck = (uint32_t)atomic_get(&st_tx_stuck[bus]);
}

void canbus_get_stats(struct canbus_stats *out)
{
    for (int b = 0; b < NUM_BUSES; b++) {
        out->rx[b] = atomic_get(&st_rx[b]);
        out->tx_ok[b] = atomic_get(&st_tx_ok[b]);
        out->tx_err[b] = atomic_get(&st_tx_err[b]);
        out->tx_refused[b] = atomic_get(&st_tx_refused[b]);
    }
    out->dup_dropped = atomic_get(&st_dup);
    out->stale_dropped = atomic_get(&st_stale);
    out->rxq_overflow = atomic_get(&st_overflow);
}

const struct device *canbus_dev(int bus)
{
    return can_devs[bus];
}

/* ------------------------------------------------------------------ */
/* Init                                                               */
/* ------------------------------------------------------------------ */

int canbus_init(void)
{
    uint32_t now = k_uptime_get_32();

    for (int bus = 0; bus < NUM_BUSES; bus++) {
        if (!device_is_ready(can_devs[bus]) ||
            !gpio_is_ready_dt(&tp_rx[bus]) || !gpio_is_ready_dt(&tp_tx[bus])) {
            printk("CAN %c: not ready\n", 'A' + bus);
            return -ENODEV;
        }
        gpio_pin_configure_dt(&tp_rx[bus], GPIO_OUTPUT_INACTIVE);
        gpio_pin_configure_dt(&tp_tx[bus], GPIO_OUTPUT_INACTIVE);

        for (int i = 0; i < ARRAY_SIZE(rx_filters); i++) {
            const struct can_filter flt = {
                .id = rx_filters[i].id,
                .mask = rx_filters[i].mask,
                .flags = 0,
            };
            int id = can_add_rx_filter(can_devs[bus], rx_cb, (void *)(uintptr_t)bus, &flt);
            if (id < 0) {
                printk("CAN %c: filter 0x%03x failed (%d)\n", 'A' + bus, rx_filters[i].id, id);
                return id;
            }
        }

        int err = can_start(can_devs[bus]);
        if (err != 0) {
            printk("CAN %c: start failed (%d)\n", 'A' + bus, err);
            return err;
        }
        atomic_set(&last_rx_ms[bus], (atomic_val_t)now);   /* grace period at boot */
    }

    k_thread_create(&dispatch_thread, dispatch_stack, K_THREAD_STACK_SIZEOF(dispatch_stack),
                    dispatch_fn, NULL, NULL, NULL, PRIO_DISPATCH, 0, K_NO_WAIT);
    k_thread_name_set(&dispatch_thread, "dispatch");
    return 0;
}
```

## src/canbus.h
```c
#ifndef CANBUS_H
#define CANBUS_H

#include <stdbool.h>
#include <stdint.h>
#include <zephyr/drivers/can.h>

#include "raft/raft_core.h"

#define BUS_A 0
#define BUS_B 1
#define NUM_BUSES 2

/* Starts both controllers, registers the catalog filters and the
 * DISPATCH thread. */
int canbus_init(void);

/* Send helper: fills the sequence counter for this ID (bumped once),
 * then queues the frame on bus A and bus B back to back.
 * is_heartbeat: heartbeats still go out on a degraded bus (they are the
 * probe that lets the bus recover); everything else is held back there. */
void canbus_send_both(uint16_t id, uint8_t data[8], bool is_heartbeat);

/* Lab 5: send a Raft frame (sequence counter filled here) on the buses in
 * its bus_mask that are not degraded. is_ref: stamp TX-complete for tsync.
 * Returns 0 if it was queued on at least one bus. */
int canbus_send_raft(const raft_frame_t *f, bool is_ref);

/* Queue an unchanged frame on one bus (RELAY). Returns can_send's result,
 * or -ENETDOWN if that bus is degraded. */
int canbus_send_one(int bus, const struct can_frame *frame);

/* Uptime (ms, 32-bit) of the last frame received on this bus */
uint32_t canbus_last_rx_ms(int bus);

/* Called by HB_MON on a health change. Entering degraded flushes the
 * controller's pending TX buffers (stop + start) and holds back
 * non-heartbeat traffic on that bus until frames arrive again. */
void canbus_set_degraded(int bus, bool degraded);
bool canbus_is_degraded(int bus);

/* Called by HB_MON every tick while a bus is degraded: if the controller is
 * stopped (a failed can_start), start it again, with backoff. Bus-off is left
 * to the controller's own recovery (CAN fault confinement). */
void canbus_recover(int bus);

/* Controller state for the 1 s report */
struct canbus_ctrl_diag {
    bool state_ok;
    uint8_t state;          /* enum can_state */
    uint8_t tec, rec;
    uint32_t restarts, restart_fail;
    bool int_asserted;      /* MCP2515 INT line asserted right now */
    uint32_t int_kicks;     /* stalled interrupts re-triggered */
    uint32_t tx_stuck;      /* restarts because no TX completed while sends were refused */
};

/* Called by HB_MON every tick for both buses: restart a controller whose TX
 * slots are stuck (receiving fine, nothing completes, every send refused). */
void canbus_check_tx(int bus);

/* Level of the MCP2515 INT pin (1 = asserted), safe from an ISR */
int canbus_int_pin(int bus);

/* Called by HB_MON every tick for both buses: re-trigger a stalled MCP2515
 * interrupt (INT asserted on two ticks in a row). */
void canbus_check_int(int bus);
void canbus_get_ctrl_diag(int bus, struct canbus_ctrl_diag *d);

struct canbus_stats {
    uint32_t rx[NUM_BUSES];
    uint32_t tx_ok[NUM_BUSES];
    uint32_t tx_err[NUM_BUSES];
    uint32_t tx_refused[NUM_BUSES];
    uint32_t dup_dropped;
    uint32_t stale_dropped;
    uint32_t rxq_overflow;
};
void canbus_get_stats(struct canbus_stats *out);
const struct device *canbus_dev(int bus);

/* Implemented by the application (state.c): one accepted, de-duplicated
 * frame from another zone. Runs in the DISPATCH thread. */
void app_on_frame(const struct can_frame *frame, int bus, uint8_t src);

/* relay.c (both zones): hand a frame to RELAY for bus `out_bus` (0 = A, 1 = B) */
void relay_post_to(const struct can_frame *frame, int out_bus);
int relay_init(void);
uint32_t relay_forwarded(void);

#endif /* CANBUS_H */
```

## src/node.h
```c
/*
 * node.h - what each zone (node2.c / node3.c) provides to the common code
 */
#ifndef NODE_H
#define NODE_H

#include <stdint.h>

int node_init(void);

/* A new valid CTRL is available (state_get_ctrl): wake STEER / DRIVE. */
void node_on_ctrl(void);

/* Drive the zone's outputs to their fail-safe values now
 * (N2: servo centered; N3: motor braked). Called on entering error,
 * from thread context. */
void node_apply_fail_safe(void);

/* Watchdog: bit set by each periodic thread that must keep running */
#define WDT_BIT_HB_TX   (1u << 0)
#define WDT_BIT_HB_MON  (1u << 1)
#define WDT_BIT_NODE    (1u << 2)   /* PID on N3, FORCE_TX on N2 */
#define WDT_ALL_BITS    (WDT_BIT_HB_TX | WDT_BIT_HB_MON | WDT_BIT_NODE)
void wdt_checkin(uint32_t bit);

/* Blinker outputs (blink.c) */
int blink_init(void);
void blink_on_frame(uint8_t state, uint8_t phase);
void blink_kick(void);      /* re-evaluate now (error state changed) */
void blink_sync_info(uint8_t out[3]);   /* N2: hazard timing for its heartbeat */
void blink_follow(const uint8_t in[3]); /* N3: align to N2's hazard timing */

int button_init(void);
int monitor_init(void);
int pps_init(void);

#endif /* NODE_H */
```

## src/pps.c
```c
/*
 * pps.c - PPS output (Lab 5 Part 6.4)
 *
 * One rising edge on the PPS pin at every whole second of global_gettime().
 * Every node derives the edge from the same global time, so on a scope the
 * edges of all nodes line up; their spread is the sync error.
 *
 * The thread sleeps until EDGE_WAKE_EARLY_US before the edge and spins to
 * the exact microsecond. It is cooperative (PRIO_EDGE): nothing preempts it
 * in that window. Every wakeup recomputes the edge from the current model,
 * sleeps are capped at 1 s and the spin at 2 x EDGE_WAKE_EARLY_US, so a
 * clock step can never leave it spinning. The pin drops PPS_HIGH_MS later.
 * On each edge it queues a console line (printed by RAFT_LOG): global and
 * local time at the edge, the drift estimate and the correction applied at
 * the last REF.
 */

#include <zephyr/kernel.h>
#include <zephyr/drivers/gpio.h>

#include "config.h"
#include "raft_node.h"

#define PPS_HIGH_MS 100

static const struct gpio_dt_spec pps_pin = GPIO_DT_SPEC_GET(DT_NODELABEL(tp_pps), gpios);

void raft_node_log_pps(uint64_t global_us, uint64_t local_us);

K_THREAD_STACK_DEFINE(pps_stack, STACK_SMALL);
static struct k_thread pps_thread;

static void pps_fn(void *a, void *b, void *c)
{
    ARG_UNUSED(a); ARG_UNUSED(b); ARG_UNUSED(c);

    while (1) {
        /* Recompute the next whole second from the model as it is now (see
         * blink.c: an edge computed before a clock step is never reused) */
        uint64_t now = raft_node_local_us();
        uint64_t g = raft_node_global_us(now);
        uint64_t edge_g = (g / 1000000u + 1u) * 1000000u;
        uint64_t edge_l = raft_node_local_for_global(edge_g);

        if (edge_l <= now || edge_l - now > EDGE_WAKE_EARLY_US) {
            uint64_t wait = (edge_l > now + EDGE_WAKE_EARLY_US) ? edge_l - now - EDGE_WAKE_EARLY_US : 100u;
            if (wait > 1000000u) {
                wait = 1000000u;
            }
            k_sleep(K_USEC((uint32_t)wait));
            continue;
        }

        uint64_t spin_end = now + 2u * EDGE_WAKE_EARLY_US;
        uint64_t t;
        while ((t = raft_node_local_us()) < edge_l && t < spin_end) {
        }
        gpio_pin_set_dt(&pps_pin, 1);
        raft_node_log_pps(raft_node_global_us(t), t);
        k_msleep(PPS_HIGH_MS);
        gpio_pin_set_dt(&pps_pin, 0);
    }
}

int pps_init(void)
{
    if (!gpio_is_ready_dt(&pps_pin)) {
        return -ENODEV;
    }
    gpio_pin_configure_dt(&pps_pin, GPIO_OUTPUT_INACTIVE);
    k_thread_create(&pps_thread, pps_stack, K_THREAD_STACK_SIZEOF(pps_stack),
                    pps_fn, NULL, NULL, NULL, PRIO_EDGE, 0, K_NO_WAIT);
    k_thread_name_set(&pps_thread, "pps");
    return 0;
}
```
